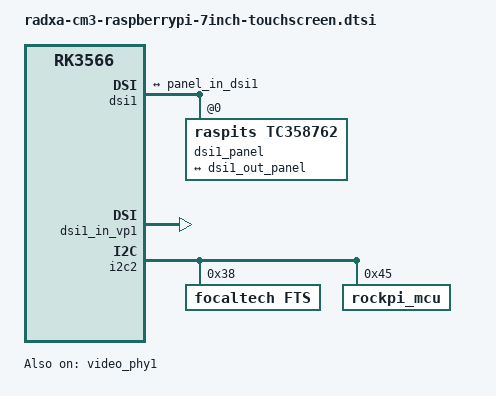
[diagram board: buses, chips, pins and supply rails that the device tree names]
// SPDX-License-Identifier: (GPL-2.0+ OR MIT)
/*
 * Copyright (c) 2021 Rockchip Electronics Co., Ltd.
 */

#include <dt-bindings/display/rockchip_vop.h>

/ {
	compatible = "radxa,rock-cm3", "rockchip,rk3566";
};

&video_phy1 {
    status = "okay";
};

&dsi1 {
	status = "okay";
	#address-cells = <1>;
    #size-cells = <0>;


	dsi1_panel: dsi-panel@0 {
		compatible = "raspits,tc358762";
		reg = <0x0>;
		status = "okay";

		ports {
			#address-cells = <1>;
			#size-cells = <0>;

			port@0 {
				reg = <0>;

				panel_in_dsi1: endpoint {
					remote-endpoint = <&dsi1_out_panel>;
				};
			};
		};
	};

	ports {
		#address-cells = <1>;
		#size-cells = <0>;

		port@1 {
			reg = <1>;
			#address-cells = <1>;
			#size-cells = <0>;

			dsi1_out_panel: endpoint@0 {
				reg = <0>;
				remote-endpoint = <&panel_in_dsi1>;
			};
		};
	};
};

&dsi1_in_vp0 {
	status = "disabled";
};

&dsi1_in_vp1 {
	status = "okay";
};

// &route_dsi1 {
// 	status = "okay";
// 	connect = <&vp0_out_dsi1>;
// };

&i2c2 {
	status = "okay";
	pinctrl-0 = <&i2c2m1_xfer>;
	// #address-cells = <1>;
	// #size-cells = <0>;
	// chipone_icn8952: chipone_icn8952@30 {
	// 	compatible = "chipone_icn8505";
	// 	reg = <0x30>;
	// 	status = "okay";
	// };

/*
    rockpi_ft5406: rockpi_ft5406@38 {
		compatible = "rockpi_ft5406";
		reg = <0x38>;
		status = "okay";
	};
*/
    focaltech: focaltech@38 {
               status = "okay";
               compatible = "focaltech,fts";
               reg = <0x38>;
             //  focaltech,irq-gpio = <&gpio0 RK_PB3 IRQ_TYPE_EDGE_FALLING>;
             //  focaltech,reset-gpio = <&gpio0 RK_PB4 GPIO_ACTIVE_LOW>;
               irq_mode = <0>; //0 poll ,1 irq
               x_reverse = <1>;
               y_reverse = <1>;
               xy_swap = <0>;
               focaltech,display-coords =  <0 0 800 480>;
               focaltech,max-touch-number = <5>;
     };

	rockpi_mcu: rockpi-mcu@45 {
		compatible = "rockpi_mcu";
		reg = <0x45>;
		status = "okay";
	};
};

